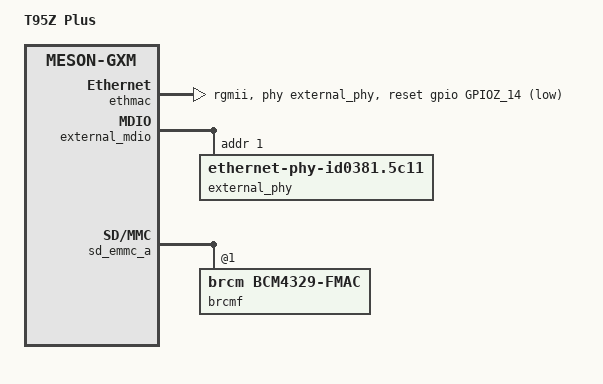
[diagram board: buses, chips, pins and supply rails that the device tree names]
// SPDX-License-Identifier: (GPL-2.0+ OR MIT)
/*
 * Copyright (c) 2016 Endless Computers, Inc.
 * Author: Carlo Caione <carlo@endlessm.com>, flippy
*/

/dts-v1/;

#include "meson-gxm.dtsi"
#include "meson-gx-p23x-q20x.dtsi"

/ {
        compatible = "amlogic,q201", "amlogic,s912", "amlogic,meson-gxm";
        model = "T95Z Plus";

        openvfd {
                compatible = "open,vfd";
                dev_name = "openvfd";
                status = "okay";
        };
};

&ethmac {
        phy-mode = "rgmii";
        pinctrl-0 = <&eth_pins>;
        pinctrl-names = "default";
        reg = <0x0 0xc9410000 0x0 0x10000
                0x0 0xc8834540 0x0 0x8
                0x0 0xc8834558 0x0 0xc>;

        /* Select external PHY by default */
        phy-handle = <&external_phy>;

        amlogic,tx-delay-ns = <2>;

        /* External PHY reset is shared with internal PHY Led signals */
        snps,reset-gpio = <&gpio GPIOZ_14 0>;
        snps,reset-delays-us = <0 10000 1000000>;
        snps,reset-active-low;
};

&external_mdio {
        external_phy: ethernet-phy@0 {
                /* T95Z Plus's phy has phy id = 0381:5c11 */
                compatible = "ethernet-phy-id0381.5c11", "ethernet-phy-ieee802.3-c22";
                /* T95Z Plus's phy has phy addr = 1 */
                reg = <1>;
                max-speed = <1000>;
                interrupt-parent = <&gpio_intc>;
                interrupts = <25 IRQ_TYPE_LEVEL_LOW>;
        };
};

&sd_emmc_a {
        brcmf: wifi@1 {
                reg = <1>;
                compatible = "brcm,bcm4329-fmac";
        };
};
